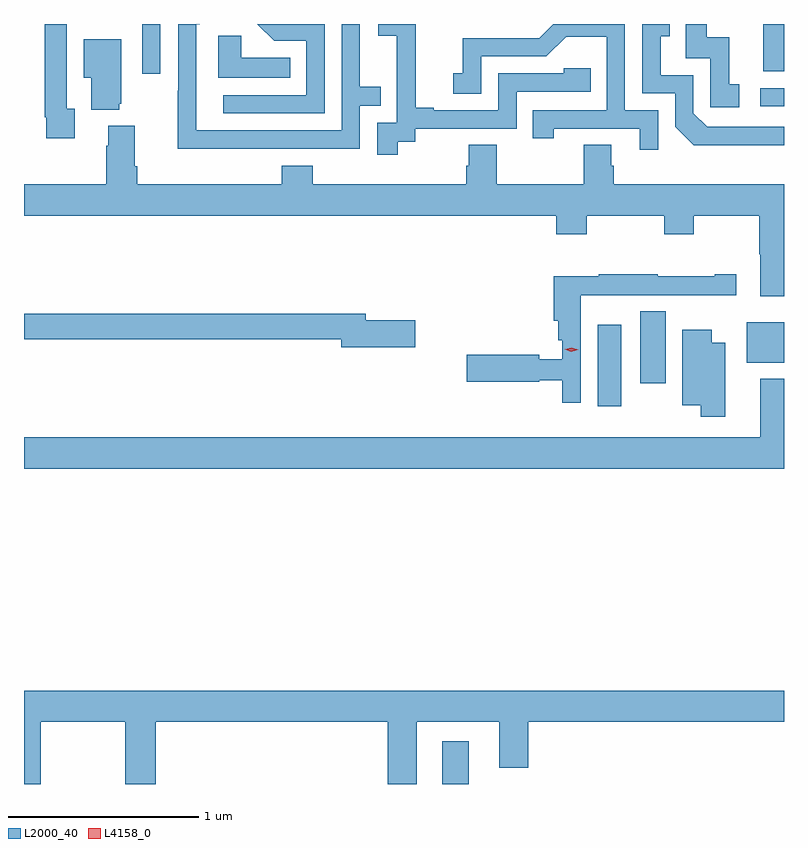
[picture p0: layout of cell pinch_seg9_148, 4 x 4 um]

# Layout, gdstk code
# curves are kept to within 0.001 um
import gdstk
lib = gdstk.Library(unit=1e-6, precision=1e-09)
def R(c, l, rs):  # rectangles x0, y0, x1, y1
    for r in rs: c.add(gdstk.rectangle(r[:2], r[2:], *l))
def P(c, l, *ps):  # polygons
    for p in ps: c.add(gdstk.Polygon(p, *l))
L2000_40 = (2000, 40)
L4158_0 = (4158, 0)

pinch_seg9_148 = lib.new_cell('pinch_seg9_148')
R(pinch_seg9_148, L2000_40, [(735.083,1230.724,735.223,1230.949), (735.902,1232.712,736.024,1233.142), (736.124,1232.832,736.258,1233.212), (736.685,1232.942,736.881,1233.154), (736.755,1234.29,736.881,1234.386), (733.503,1234.461,733.599,1234.724), (736.772,1234.475,736.881,1234.724)])
P(pinch_seg9_148, L2000_40, [(734.463,1234.724),(734.109,1234.724),(734.198,1234.635),(734.367,1234.635),(734.367,1234.35),(733.929,1234.35),(733.929,1234.254),(734.463,1234.254)],
  [(733.147,1234.278),(733.107,1234.278),(733.107,1234.724),(732.991,1234.724),(732.991,1234.234),(732.999,1234.234),(732.999,1234.122),(733.147,1234.122)],
  [(736.814,1234.086),(736.881,1234.086),(736.881,1234.182),(736.476,1234.182),(736.404,1234.254),(736.404,1234.455),(736.231,1234.455),(736.231,1234.659),(736.28,1234.659),(736.28,1234.724),(736.134,1234.724),(736.134,1234.359),(736.308,1234.359),(736.308,1234.182),(736.406,1234.085)],
  [(734.153,1234.068),(734.649,1234.068),(734.649,1234.293),(734.759,1234.293),(734.759,1234.394),(734.649,1234.394),(734.649,1234.724),(734.553,1234.724),(734.553,1234.164),(733.788,1234.164),(733.788,1234.722),(733.807,1234.722),(733.807,1234.724),(733.692,1234.724),(733.692,1234.373),(733.69,1234.373),(733.69,1234.067),(734.153,1234.067)],
  [(736.645,1234.407),(736.592,1234.407),(736.592,1234.654),(736.474,1234.654),(736.474,1234.724),(736.365,1234.724),(736.365,1234.545),(736.494,1234.545),(736.494,1234.287),(736.645,1234.287)],
  [(736.218,1234.269),(736.044,1234.269),(736.044,1234.724),(735.667,1234.724),(735.593,1234.65),(735.19,1234.65),(735.19,1234.465),(735.141,1234.465),(735.141,1234.356),(735.288,1234.356),(735.288,1234.554),(735.63,1234.554),(735.734,1234.658),(735.948,1234.658),(735.948,1234.269),(735.559,1234.269),(735.559,1234.122),(735.67,1234.122),(735.67,1234.173),(736.121,1234.173),(736.121,1234.062),(736.218,1234.062)],
  [(734.848,1234.105),(734.94,1234.105),(734.94,1234.173),(735.474,1234.173),(735.474,1234.368),(735.863,1234.368),(735.863,1234.491),(735.723,1234.491),(735.723,1234.464),(735.378,1234.464),(735.378,1234.269),(735.037,1234.269),(735.037,1234.282),(734.942,1234.282),(734.942,1234.565),(734.943,1234.565),(734.943,1234.724),(734.745,1234.724),(734.745,1234.661),(734.843,1234.661),(734.843,1234.433),(734.844,1234.433),(734.844,1234.203),(734.739,1234.203),(734.739,1234.035),(734.848,1234.035)],
  [(734.282,1234.546),(734.025,1234.546),(734.025,1234.661),(733.904,1234.661),(733.904,1234.442),(734.282,1234.442)],
  [(733.382,1234.305),(733.393,1234.305),(733.393,1234.645),(733.196,1234.645),(733.196,1234.442),(733.235,1234.442),(733.235,1234.274),(733.382,1234.274)],
  [(736.881,1233.88),(735.986,1233.88),(735.986,1233.978),(735.973,1233.978),(735.973,1234.088),(735.826,1234.088),(735.826,1233.88),(735.369,1233.88),(735.369,1234.088),(735.221,1234.088),(735.221,1233.978),(735.209,1233.978),(735.209,1233.88),(734.402,1233.88),(734.402,1233.979),(734.237,1233.979),(734.237,1233.88),(733.478,1233.88),(733.478,1233.976),(733.465,1233.976),(733.465,1234.189),(733.325,1234.189),(733.325,1234.082),(733.313,1234.082),(733.313,1233.88),(732.881,1233.88),(732.881,1233.716),(735.683,1233.716),(735.683,1233.617),(735.843,1233.617),(735.843,1233.716),(736.252,1233.716),(736.252,1233.617),(736.407,1233.617),(736.407,1233.716),(736.75,1233.716),(736.75,1233.512),(736.757,1233.512),(736.757,1233.291),(736.881,1233.291)],
  [(735.81,1233.296),(736.02,1233.296),(736.02,1233.297),(736.354,1233.297),(736.354,1233.296),(736.63,1233.296),(736.63,1233.406),(736.517,1233.406),(736.517,1233.396),(736.217,1233.396),(736.217,1233.406),(735.907,1233.406),(735.907,1233.396),(735.668,1233.396),(735.668,1233.161),(735.694,1233.161),(735.694,1233.06),(735.714,1233.06),(735.714,1232.96),(735.594,1232.96),(735.594,1232.984),(735.21,1232.984),(735.21,1232.842),(735.594,1232.842),(735.594,1232.85),(735.714,1232.85),(735.714,1232.73),(735.81,1232.73)],
  [(734.941,1233.164),(734.68,1233.164),(734.68,1233.2),(732.881,1233.2),(732.881,1233.064),(734.552,1233.064),(734.552,1233.022),(734.941,1233.022)],
  [(736.573,1233.046),(736.501,1233.046),(736.501,1233.115),(736.346,1233.115),(736.346,1232.717),(736.444,1232.717),(736.444,1232.658),(736.573,1232.658)],
  [(736.881,1232.857),(736.757,1232.857),(736.757,1232.548),(732.881,1232.548),(732.881,1232.384),(736.881,1232.384)],
  [(732.969,1231.052),(733.414,1231.052),(733.414,1230.724),(733.574,1230.724),(733.574,1231.052),(734.795,1231.052),(734.795,1230.724),(734.947,1230.724),(734.947,1231.052),(735.383,1231.052),(735.383,1230.809),(735.536,1230.809),(735.536,1231.052),(736.881,1231.052),(736.881,1231.216),(732.881,1231.216),(732.881,1230.724),(732.969,1230.724)])
P(pinch_seg9_148, L4158_0, [(735.762,1233),(735.728,1233.012),(735.728,1233.012),(735.728,1233.012),(735.763,1233.02),(735.798,1233.009),(735.798,1233.009),(735.798,1233.009)])

lib.write_gds('pinch_seg9_148.gds')
